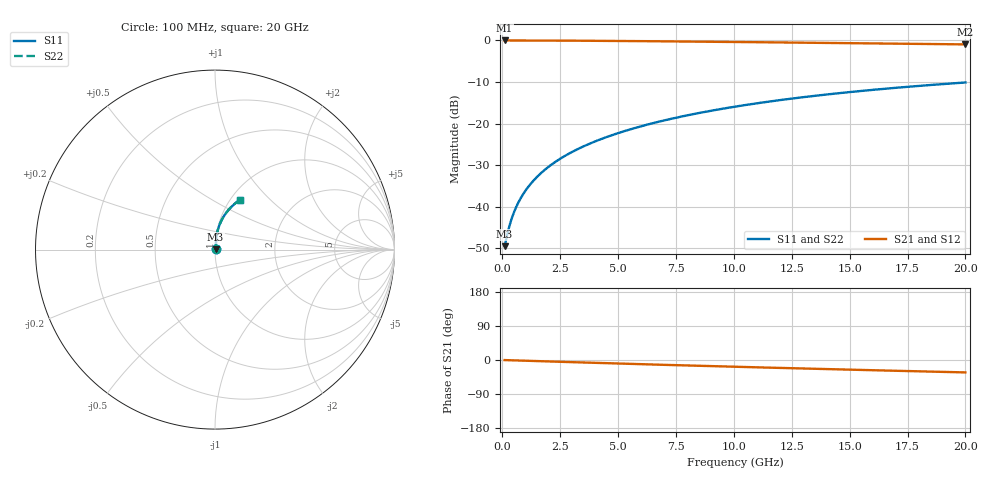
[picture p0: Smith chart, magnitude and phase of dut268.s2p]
! Touchstone file exported from HFSS 2024.1.0
!  File:  C:/UserFiles/LocalFiles/RDL_TSV_Batchsim/temp_RDL_top_268_1778689585.aedt
!  Generated:  12:28:17 AM May 14, 2026
!  Design:  RDL_top
!  Project:  temp_RDL_top_268_1778689585
!  Setup:  Setup1
!  Solution:  Sweep
! Variables:
!  dtsv = 10.80580581um
!  hbump = 3um
!  htsv = 65.79um
!  ldown = 100um
!  lrdl = 465.73um
!  p = 40
!  p1 = 42.3um
!  rhole = 1um
!  t = 450um
!  tdown = 3.915915916um
!  trdl = 3.15um
!  wdown = 15.38538539um
!  wrdl = 19.22um
# GHz S MA R 50.000000
! Terminal data exported
! Port[1] = Box2_T1
! Port[2] = Box2_T2
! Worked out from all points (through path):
!   200 points, 100 MHz to 20 GHz, reference 50 ohm
!   highest |S21| = -0.03 dB at 100 MHz (marker M1); lowest = -1.0 dB at 20 GHz (marker M2)
!   group delay of S21, straight-line fit = 4.52 ps
!   lowest |S11| = -49.5 dB at 100 MHz (marker M3), VSWR 1.01, Z = 50.3 + j0.167 ohm
!   |S11| at or under -10 dB: start of sweep to end of sweep
!   |S22| runs from -49.5 to -10.1 dB; largest |S21 - S12| = 3.3e-15
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0.1  0.003362 29.6  0.9971 -0.2  0.9971 -0.2  0.003362 29.6
! Gamma 0 0 0 0
! Port Impedance 50 0 50 0
0.2  0.004464 47.3  0.997 -0.4  0.997 -0.4  0.004464 47.3
0.3  0.005777 56.9  0.9968 -0.6  0.9968 -0.6  0.005777 56.9
0.4  0.007147 62.7  0.9966 -0.8  0.9966 -0.8  0.007147 62.7
0.5  0.008533 66.6  0.9965 -1.0  0.9965 -1.0  0.008533 66.6
0.6  0.009928 69.5  0.9963 -1.2  0.9963 -1.2  0.009928 69.5
0.8  0.01274 73.5  0.9961 -1.5  0.9961 -1.5  0.01274 73.5
1  0.0156 76.1  0.9958 -1.9  0.9958 -1.9  0.0156 76.1
1.2  0.01849 78.0  0.9955 -2.3  0.9955 -2.3  0.01849 78.0
1.4  0.0214 79.4  0.9952 -2.7  0.9952 -2.7  0.0214 79.4
1.7  0.02581 80.8  0.9946 -3.2  0.9946 -3.2  0.02581 80.9
2.2  0.03326 82.3  0.9935 -4.2  0.9935 -4.2  0.03326 82.3
2.8  0.04233 83.3  0.9918 -5.3  0.9918 -5.3  0.04234 83.3
3.5  0.05309 83.7  0.9895 -6.6  0.9895 -6.6  0.05309 83.7
4.2  0.06403 83.7  0.9868 -7.9  0.9868 -7.9  0.06403 83.8
5  0.07673 83.5  0.9833 -9.3  0.9833 -9.3  0.07674 83.5
6.8  0.1059 82.1  0.9743 -12.4  0.9743 -12.4  0.106 82.1
8.4  0.1324 80.2  0.9654 -15.1  0.9654 -15.1  0.1324 80.3
10.1  0.1605 78.0  0.9554 -17.9  0.9554 -17.9  0.1605 78.0
13.4  0.214 73.1  0.9354 -23.1  0.9354 -23.1  0.2141 73.1
16.7  0.2647 68.1  0.9149 -28.0  0.9149 -28.0  0.2648 68.1
20  0.3117 63.1  0.8941 -32.8  0.8941 -32.8  0.3118 63.2
